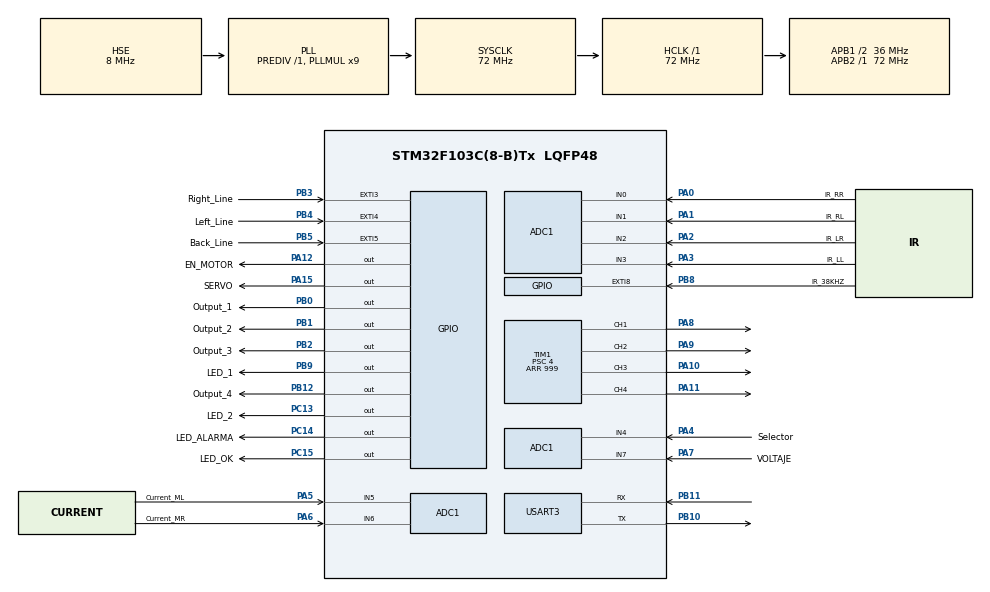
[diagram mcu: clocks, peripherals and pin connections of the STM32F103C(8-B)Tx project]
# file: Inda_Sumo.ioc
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ADC1.Channel-0\#ChannelRegularConversion=ADC_CHANNEL_0
ADC1.Channel-1\#ChannelRegularConversion=ADC_CHANNEL_1
ADC1.Channel-2\#ChannelRegularConversion=ADC_CHANNEL_2
ADC1.Channel-3\#ChannelRegularConversion=ADC_CHANNEL_3
ADC1.Channel-4\#ChannelRegularConversion=ADC_CHANNEL_4
ADC1.Channel-5\#ChannelRegularConversion=ADC_CHANNEL_5
ADC1.Channel-6\#ChannelRegularConversion=ADC_CHANNEL_6
ADC1.Channel-7\#ChannelRegularConversion=ADC_CHANNEL_7
ADC1.ContinuousConvMode=ENABLE
ADC1.NbrOfConversion=8
ADC1.NbrOfConversionFlag=1
ADC1.Rank-0\#ChannelRegularConversion=1
ADC1.Rank-1\#ChannelRegularConversion=2
ADC1.Rank-2\#ChannelRegularConversion=3
ADC1.Rank-3\#ChannelRegularConversion=4
ADC1.Rank-4\#ChannelRegularConversion=5
ADC1.Rank-5\#ChannelRegularConversion=6
ADC1.Rank-6\#ChannelRegularConversion=7
ADC1.Rank-7\#ChannelRegularConversion=8
ADC1.SamplingTime-0\#ChannelRegularConversion=ADC_SAMPLETIME_28CYCLES_5
ADC1.SamplingTime-1\#ChannelRegularConversion=ADC_SAMPLETIME_28CYCLES_5
ADC1.SamplingTime-2\#ChannelRegularConversion=ADC_SAMPLETIME_28CYCLES_5
ADC1.SamplingTime-3\#ChannelRegularConversion=ADC_SAMPLETIME_28CYCLES_5
ADC1.SamplingTime-4\#ChannelRegularConversion=ADC_SAMPLETIME_28CYCLES_5
ADC1.SamplingTime-5\#ChannelRegularConversion=ADC_SAMPLETIME_28CYCLES_5
ADC1.SamplingTime-6\#ChannelRegularConversion=ADC_SAMPLETIME_28CYCLES_5
ADC1.SamplingTime-7\#ChannelRegularConversion=ADC_SAMPLETIME_28CYCLES_5
ADC1.master=1
Dma.ADC1.0.Direction=DMA_PERIPH_TO_MEMORY
Dma.ADC1.0.Instance=DMA1_Channel1
Dma.ADC1.0.MemDataAlignment=DMA_MDATAALIGN_HALFWORD
Dma.ADC1.0.MemInc=DMA_MINC_ENABLE
Dma.ADC1.0.Mode=DMA_CIRCULAR
Dma.ADC1.0.PeriphDataAlignment=DMA_PDATAALIGN_HALFWORD
Dma.ADC1.0.PeriphInc=DMA_PINC_DISABLE
Dma.ADC1.0.Priority=DMA_PRIORITY_LOW
Dma.Request0=ADC1
Mcu.Family=STM32F1
Mcu.Name=STM32F103C(8-B)Tx
Mcu.Package=LQFP48
NVIC.DMA1_Channel1_IRQn=true\:2\:0\:true\:false\:true\:false\:true\:true
NVIC.EXTI3_IRQn=true\:3\:0\:true\:false\:true\:true\:true\:true
NVIC.EXTI4_IRQn=true\:3\:0\:true\:false\:true\:true\:true\:true
NVIC.EXTI9_5_IRQn=true\:1\:0\:true\:false\:true\:true\:true\:true
NVIC.PriorityGroup=NVIC_PRIORITYGROUP_4
NVIC.TIM2_IRQn=true\:0\:0\:true\:false\:true\:true\:true\:true
PA0-WKUP.GPIO_Label=IR_RR
PA0-WKUP.Signal=ADCx_IN0
PA1.GPIO_Label=IR_RL
PA1.Signal=ADCx_IN1
PA10.Signal=S_TIM1_CH3
PA11.Signal=S_TIM1_CH4
PA12.GPIO_Label=EN_MOTOR
PA12.Signal=GPIO_Output
PA13.Mode=Serial_Wire
PA13.Signal=SYS_JTMS-SWDIO
PA14.Mode=Serial_Wire
PA14.Signal=SYS_JTCK-SWCLK
PA15.GPIO_Label=SERVO
PA15.Signal=GPIO_Output
PA2.GPIO_Label=IR_LR
PA2.Signal=ADCx_IN2
PA3.GPIO_Label=IR_LL
PA3.Signal=ADCx_IN3
PA4.GPIO_Label=Selector
PA4.Signal=ADCx_IN4
PA5.GPIO_Label=Current_ML
PA5.Signal=ADCx_IN5
PA6.GPIO_Label=Current_MR
PA6.Signal=ADCx_IN6
PA7.GPIO_Label=VOLTAJE
PA7.Signal=ADCx_IN7
PA8.Signal=S_TIM1_CH1
PA9.Signal=S_TIM1_CH2
PB0.GPIO_Label=Output_1
PB0.Signal=GPIO_Output
PB1.GPIO_Label=Output_2
PB1.Signal=GPIO_Output
PB10.Mode=Asynchronous
PB10.Signal=USART3_TX
PB11.Mode=Asynchronous
PB11.Signal=USART3_RX
PB12.GPIO_Label=Output_4
PB12.Signal=GPIO_Output
PB2.GPIO_Label=Output_3
PB2.Signal=GPIO_Output
PB3.GPIO_Label=Right_Line
PB3.GPIO_ModeDefaultEXTI=GPIO_MODE_IT_FALLING
PB3.Signal=GPXTI3
PB4.GPIO_Label=Left_Line
PB4.GPIO_ModeDefaultEXTI=GPIO_MODE_IT_RISING_FALLING
PB4.Signal=GPXTI4
PB5.GPIO_Label=Back_Line
PB5.GPIO_ModeDefaultEXTI=GPIO_MODE_IT_FALLING
PB5.Signal=GPXTI5
PB8.GPIO_Label=IR_38KHZ
PB8.GPIO_ModeDefaultEXTI=GPIO_MODE_IT_FALLING
PB8.GPIO_PuPd=GPIO_PULLUP
PB8.Signal=GPXTI8
PB9.GPIO_Label=LED_1
PB9.Signal=GPIO_Output
PC13-TAMPER-RTC.GPIO_Label=LED_2
PC13-TAMPER-RTC.Signal=GPIO_Output
PC14-OSC32_IN.GPIO_Label=LED_ALARMA
PC14-OSC32_IN.Signal=GPIO_Output
PC15-OSC32_OUT.GPIO_Label=LED_OK
PC15-OSC32_OUT.Signal=GPIO_Output
PD0-OSC_IN.Mode=HSE-External-Oscillator
PD0-OSC_IN.Signal=RCC_OSC_IN
PD1-OSC_OUT.Mode=HSE-External-Oscillator
PD1-OSC_OUT.Signal=RCC_OSC_OUT
ProjectManager.HeapSize=0x200
ProjectManager.StackSize=0x400
ProjectManager.TargetToolchain=STM32CubeIDE
RCC.ADCPresc=RCC_ADCPCLK2_DIV6
RCC.AHBFreq_Value=72000000
RCC.APB1CLKDivider=RCC_HCLK_DIV2
RCC.APB1Freq_Value=36000000
RCC.APB1TimFreq_Value=72000000
RCC.APB2Freq_Value=72000000
RCC.APB2TimFreq_Value=72000000
RCC.HCLKFreq_Value=72000000
RCC.PLLMUL=RCC_PLL_MUL9
RCC.PLLSourceVirtual=RCC_PLLSOURCE_HSE
RCC.SYSCLKFreq_VALUE=72000000
RCC.SYSCLKSource=RCC_SYSCLKSOURCE_PLLCLK
RCC.USBFreq_Value=72000000
SH.ADCx_IN0.0=ADC1_IN0,IN0
SH.ADCx_IN1.0=ADC1_IN1,IN1
SH.ADCx_IN2.0=ADC1_IN2,IN2
SH.ADCx_IN3.0=ADC1_IN3,IN3
SH.ADCx_IN4.0=ADC1_IN4,IN4
SH.ADCx_IN5.0=ADC1_IN5,IN5
SH.ADCx_IN6.0=ADC1_IN6,IN6
SH.ADCx_IN7.0=ADC1_IN7,IN7
SH.S_TIM1_CH1.0=TIM1_CH1,PWM Generation1 CH1
SH.S_TIM1_CH2.0=TIM1_CH2,PWM Generation2 CH2
SH.S_TIM1_CH3.0=TIM1_CH3,PWM Generation3 CH3
SH.S_TIM1_CH4.0=TIM1_CH4,PWM Generation4 CH4
TIM1.Channel-PWM\ Generation1\ CH1=TIM_CHANNEL_1
TIM1.Channel-PWM\ Generation2\ CH2=TIM_CHANNEL_2
TIM1.Channel-PWM\ Generation3\ CH3=TIM_CHANNEL_3
TIM1.Channel-PWM\ Generation4\ CH4=TIM_CHANNEL_4
TIM1.Period=999
TIM1.Prescaler=4
TIM2.AutoReloadPreload=TIM_AUTORELOAD_PRELOAD_DISABLE
TIM2.Period=65535
TIM2.Prescaler=71
USART3.VirtualMode=VM_ASYNC
VP_TIM2_VS_ClockSourceINT.Mode=Internal
board=custom

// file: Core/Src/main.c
/* USER CODE BEGIN Header */
/**
  ******************************************************************************
  * @file           : main.c
  * @brief          : Main program body
  ******************************************************************************
  * @attention
  *
  * Copyright (c) 2026 STMicroelectronics.
  * All rights reserved.
  *
  * This software is licensed under terms that can be found in the LICENSE file
  * in the root directory of this software component.
  * If no LICENSE file comes with this software, it is provided AS-IS.
  *
  ******************************************************************************
  */
/* USER CODE END Header */
#include "main.h"
#include "adc.h"
#include "dma.h"
#include "tim.h"
#include "usart.h"
#include "gpio.h"

/* USER CODE BEGIN Includes */
#include "stdio.h"
#include "string.h"
#include "stdbool.h"
#include "LIB_Motores.h"
/* USER CODE END Includes */

/* USER CODE BEGIN PTD */

typedef enum
{
	estrategiaA,
	estrategiaB,
	start,
	stop
}MandoRC5s;

typedef struct{
	uint16_t start;
	uint16_t toggle;
	uint16_t address;
	uint16_t command;
	volatile uint16_t trama;
	volatile uint8_t count;
	volatile bool 	state;
	volatile bool   IntQ;
	volatile uint16_t IR;
}RC5s;
/* USER CODE END PTD */

/* USER CODE BEGIN PD */
#define convVolt 0.000825396  //3.38/4095
#define divisorRes  0.259259		//r1=100k r2 35k

#define LL_sharp sharp[3]
#define LR_sharp sharp[2]
#define RL_sharp sharp[1]
#define RR_sharp sharp[0]
#define distanciaMaxima  33.0  // o 16000
#define distanciaMinima  15.0  // o 16000

/* USER CODE END PD */

/* USER CODE BEGIN PV */
RC5s	rc5={0};
MandoRC5s MandoRC5=stop;
Motores_Init Zumo;

uint16_t adc_value[8];

uint8_t standby=0;
bool combate=false;

float voltaje=0;
float corrienteML=0;
float corrienteMR=0;
float sharp[4]={30.0f,30.0f,30.0f,30.0f};
float media[4][5]={};
float posicion_final=5.0f;

bool pulsoConstante=false;
int8_t seleccionEstrategia=0;

bool leftLine=false;
bool rightLine=false;

char buffer[30];
/* USER CODE END PV */

void SystemClock_Config(void);
/* USER CODE BEGIN PFP */
void printADC();
void printADC_IR();
void printADC_Volt_Amp();;
void printRC5();
void RC5_recepcion();
void conversionADC();
void filtroSharp();

/* USER CODE END PFP */

int main(void)
{

  /* MCU Configuration--------------------------------------------------------*/

  /* Reset of all peripherals, Initializes the Flash interface and the Systick. */
  HAL_Init();

  /* Configure the system clock */
  SystemClock_Config();

  /* Initialize all configured peripherals */
  MX_GPIO_Init();
  MX_DMA_Init();
  MX_USART3_UART_Init();
  MX_ADC1_Init();
  MX_TIM1_Init();
  MX_TIM2_Init();
  /* USER CODE BEGIN 2 */

HAL_ADC_Start_DMA(&hadc1, (uint32_t *)adc_value, 8);

Zumo.PWM_ML=0;
Zumo.PWM_MR=0;
Zumo.ENABLE=0;
Inicializar_Motores(&Zumo);

LED_OK_GPIO_Port->ODR|=  LED_OK_Pin;
HAL_Delay(1000);
LED_OK_GPIO_Port->ODR&= ~LED_OK_Pin;

__HAL_TIM_SET_AUTORELOAD(&htim2, 1332);
__HAL_TIM_SET_COUNTER(&htim2, 0);
HAL_TIM_GenerateEvent(&htim2, TIM_EVENTSOURCE_UPDATE);
__HAL_TIM_CLEAR_FLAG(&htim2, TIM_FLAG_UPDATE);

__HAL_GPIO_EXTI_CLEAR_IT(GPIO_PIN_8);
  /* USER CODE END 2 */

  /* Infinite loop */
  /* USER CODE BEGIN WHILE */
  while (1)
  {
	  RC5_recepcion();	//Aca se reciben datos y se obtiene address y command

	  if(MandoRC5==start)
	  {
		  LED_OK_GPIO_Port->ODR|=LED_OK_Pin;
		  conversionADC();
			sprintf(buffer,"pos %0.2f ",posicion_final);
			HAL_UART_Transmit(&huart3, (uint8_t *)buffer, strlen(buffer), HAL_MAX_DELAY);

		 printADC_IR();
	  }
	  else if (MandoRC5==stop) {
		  LED_OK_GPIO_Port->ODR&=~LED_OK_Pin;
	  }
    /* USER CODE END WHILE */

  }
}

void SystemClock_Config(void)
{
  RCC_OscInitTypeDef RCC_OscInitStruct = {0};
  RCC_ClkInitTypeDef RCC_ClkInitStruct = {0};
  RCC_PeriphCLKInitTypeDef PeriphClkInit = {0};

  /** Initializes the RCC Oscillators according to the specified parameters
  * in the RCC_OscInitTypeDef structure.
  */
  RCC_OscInitStruct.OscillatorType = RCC_OSCILLATORTYPE_HSE;
  RCC_OscInitStruct.HSEState = RCC_HSE_ON;
  RCC_OscInitStruct.HSEPredivValue = RCC_HSE_PREDIV_DIV1;
  RCC_OscInitStruct.HSIState = RCC_HSI_ON;
  RCC_OscInitStruct.PLL.PLLState = RCC_PLL_ON;
  RCC_OscInitStruct.PLL.PLLSource = RCC_PLLSOURCE_HSE;
  RCC_OscInitStruct.PLL.PLLMUL = RCC_PLL_MUL9;
  if (HAL_RCC_OscConfig(&RCC_OscInitStruct) != HAL_OK)
  {
    Error_Handler();
  }

  /** Initializes the CPU, AHB and APB buses clocks
  */
  RCC_ClkInitStruct.ClockType = RCC_CLOCKTYPE_HCLK|RCC_CLOCKTYPE_SYSCLK
                              |RCC_CLOCKTYPE_PCLK1|RCC_CLOCKTYPE_PCLK2;
  RCC_ClkInitStruct.SYSCLKSource = RCC_SYSCLKSOURCE_PLLCLK;
  RCC_ClkInitStruct.AHBCLKDivider = RCC_SYSCLK_DIV1;
  RCC_ClkInitStruct.APB1CLKDivider = RCC_HCLK_DIV2;
  RCC_ClkInitStruct.APB2CLKDivider = RCC_HCLK_DIV1;

  if (HAL_RCC_ClockConfig(&RCC_ClkInitStruct, FLASH_LATENCY_2) != HAL_OK)
  {
    Error_Handler();
  }
  PeriphClkInit.PeriphClockSelection = RCC_PERIPHCLK_ADC;
  PeriphClkInit.AdcClockSelection = RCC_ADCPCLK2_DIV6;
  if (HAL_RCCEx_PeriphCLKConfig(&PeriphClkInit) != HAL_OK)
  {
    Error_Handler();
  }
}

/* USER CODE BEGIN 4 */

void HAL_TIM_PeriodElapsedCallback(TIM_HandleTypeDef *htim) {
    if (htim->Instance == TIM2) {
    	static bool Frecuencia=true;
    	if(Frecuencia)
    	{
    		__HAL_TIM_SET_AUTORELOAD(&htim2,1777);
    		Frecuencia=false;
    	}
    	uint8_t RC5_bit=(HAL_GPIO_ReadPin(IR_38KHZ_GPIO_Port, IR_38KHZ_Pin)==GPIO_PIN_SET)?1:0;
    	rc5.trama=(rc5.trama<<1)|RC5_bit;
    	    	if(rc5.count++>11)
    	    	{
    	    		HAL_TIM_Base_Stop_IT(&htim2);
    	    		rc5.count=0;
    	    		rc5.state=true;
    	    		rc5.IntQ=false;
    	    		Frecuencia=true;
    	            __HAL_TIM_SET_AUTORELOAD(&htim2, 1332);
    	            __HAL_TIM_SET_COUNTER(&htim2, 0);
    	    	}

    }
}
void HAL_GPIO_EXTI_Callback(uint16_t GPIO_Pin)
{
    if(GPIO_Pin == IR_38KHZ_Pin)
    {
        // 1. Bloqueamos el EXTI para que los cambios de bit no reinicien el Timer
		if(!rc5.IntQ){
    		HAL_NVIC_DisableIRQ(EXTI9_5_IRQn);
            HAL_NVIC_DisableIRQ(EXTI4_IRQn);
            HAL_NVIC_DisableIRQ(EXTI3_IRQn);

            rc5.trama = 1;
            rc5.count = 0;
            rc5.IntQ=true;
            rc5.state=false;

            // 2. Sincronización: Esperamos 1333us para leer el primer bit en su zona estable
            //__HAL_TIM_SET_AUTORELOAD(&htim2, 1332);
            //__HAL_TIM_SET_COUNTER(&htim2, 0);
            HAL_TIM_Base_Start_IT(&htim2);
		}

    }
    else if (GPIO_Pin == Left_Line_Pin) {
    	}
    else if (GPIO_Pin == Right_Line_Pin) {
    }
    else if (GPIO_Pin == Back_Line_Pin) {
    }

}
/*
 * Codigo importante para la recepcion
 * se recibe 2 bit mas para evitar una segunda pulsacion rapida
 *
 */
void RC5_recepcion()
{
	static uint16_t new=0u;
	if(rc5.state)
	{
		rc5.start=(rc5.trama>>12)&0x03;
		if(rc5.start==3){
			rc5.toggle=(rc5.trama>>11)&0x01;
			rc5.address=(rc5.trama>>6)&0x1F;
			rc5.command=(rc5.trama>>0)&0x3F;
			if(rc5.address==0x1F)
			{
				new=rc5.command&0x1F;
			}
			printRC5();
		}
		rc5.trama=0;
		rc5.state=false;
		if(rc5.address==new)
		{
			switch (rc5.command) {
			case 0x0F:
				MandoRC5=stop;

				break;
			case 0x01:
				MandoRC5=start;
				break;

			default:
				break;
			}
		}
		__HAL_GPIO_EXTI_CLEAR_IT(GPIO_PIN_8);
		HAL_NVIC_EnableIRQ(EXTI9_5_IRQn);
		HAL_NVIC_EnableIRQ(EXTI4_IRQn);
		HAL_NVIC_EnableIRQ(EXTI3_IRQn);

	}

}

void conversionADC()
{
	voltaje=adc_value[7]*convVolt;
	voltaje=voltaje/divisorRes;

	// corriente I=(V-1.65)/0.66
/*
	corrienteML=adc_value[5]*convVolt;
	corrienteML=corrienteML-1.65;
	corrienteML=corrienteML/0.66;

	corrienteMR=adc_value[6]*convVolt;
	corrienteMR=corrienteMR-1.65;
	corrienteMR=corrienteMR/0.66;*/
	// Valores IR en cm  d=65.302-27.77*V

	    static uint8_t a=0;

		media[3][a]=adc_value[3]*convVolt;
		media[2][a]=adc_value[2]*convVolt;
		media[1][a]=adc_value[1]*convVolt;
		media[0][a]=adc_value[0]*convVolt;

		media[3][a]=65.302-media[3][a]*27.77;
		media[2][a]=65.302-media[2][a]*27.77;
		media[1][a]=65.302-media[1][a]*27.77;
		media[0][a]=65.302-media[0][a]*27.77;
		static float ultimo[4]={60.0f,60.0f,60.0f,60.0f};
		static float lineal[4]={};
		if (++a>=4) {
			a=0;
			float temp;
			float fila_temporal[5];
			uint8_t size_ = 5;
			for (int canal = 0; canal < 4; canal++) {
				for (int k = 0; k < size_; k++) {
					fila_temporal[k] = media[canal][k];
				}
				for (int i = 0; i < size_ - 1; i++) {
					for (int j = 0; j < size_ - i - 1; j++) {
						if (fila_temporal[j] > fila_temporal[j + 1]) {
							temp = fila_temporal[j];
							fila_temporal[j] = fila_temporal[j + 1];
							fila_temporal[j + 1] = temp;
						}
					}
				}
				sharp[canal] = fila_temporal[2];
				// En esta parte buscamos mazimo y minimo
				for(uint8_t c=0;c<4;c++){
					if(sharp[c]>60.0f)
					{
						sharp[c]=60.0f;
					}
					else if(sharp[c]<3.0f)
					{
						sharp[c]=3.0f;
					}
					else{
						sharp[c]=sharp[c];
					}
				//Aca vemos que si realiza un cambio abrupto se queda en el ultimo valor
					const float umbral[4]={5.0f,6.0f,6.0f,5.0f};
					if(ultimo[c]<umbral[c])
					{
						if(sharp[c]==60.0f)
						{
							sharp[c]=ultimo[c];
						}
					}
					ultimo[c]=sharp[c];
					//linealizamos salida
				    lineal[c]=(60.0f - sharp[c]) / 58.0f;
				}
			}
			float suma_ponderada = (lineal[0] * 0.0f) + (lineal[1] * 1.0f) + (lineal[2] * 2.0f) + (lineal[3] * 3.0f);
			float suma_total_lecturas = lineal[0]+lineal[1]+lineal[2]+lineal[3];
			if (suma_total_lecturas > 0.02f) {
				float centro_bruto = suma_ponderada / suma_total_lecturas;
				posicion_final = (centro_bruto / 3.0f) * 10.0f;
			} else {
			  posicion_final = 5.0f;
			}
			if (posicion_final < 0.0f)  posicion_final = 0.0f;
			if (posicion_final > 10.0f) posicion_final = 10.0f;

		}

	//validar pulso adc 4
	if(!combate)
	{
		if (adc_value[4]>3600) {
			if(!pulsoConstante)
			{
				pulsoConstante=true;
			}

		}
		else if(adc_value[4]>2900)
		{
			if(!pulsoConstante)
			{
				seleccionEstrategia++;
				if(seleccionEstrategia>3)
				{
					seleccionEstrategia=0;
				}
				pulsoConstante=true;
			}
		}
		else if (adc_value[4]>1400) {
			if(!pulsoConstante)
			{
				seleccionEstrategia--;
				if(seleccionEstrategia<0)
				{
					seleccionEstrategia=3;
				}
				pulsoConstante=true;
			}
		}

		else{
			pulsoConstante=false;
		}
	}
	HAL_GPIO_WritePin(LED_1_GPIO_Port, LED_1_Pin, ((seleccionEstrategia)>>1)&1);
	HAL_GPIO_WritePin(LED_2_GPIO_Port, LED_2_Pin, (seleccionEstrategia)&1);

}

void printRC5()
{
		sprintf(buffer," start %u ",rc5.start);
		HAL_UART_Transmit(&huart3, (uint8_t *)buffer, strlen(buffer), HAL_MAX_DELAY);
		sprintf(buffer," toogle %u ",rc5.toggle);
		HAL_UART_Transmit(&huart3, (uint8_t *)buffer, strlen(buffer), HAL_MAX_DELAY);
		sprintf(buffer," address %u ",rc5.address);
		HAL_UART_Transmit(&huart3, (uint8_t *)buffer, strlen(buffer), HAL_MAX_DELAY);

		sprintf(buffer," command %u ",rc5.command);
		HAL_UART_Transmit(&huart3, (uint8_t *)buffer, strlen(buffer), HAL_MAX_DELAY);

		sprintf(buffer," \r\n ");
	HAL_UART_Transmit(&huart3, (uint8_t *)buffer, strlen(buffer), HAL_MAX_DELAY);

}
void printADC_IR()
{
	sprintf(buffer,"LL= %0.2f",sharp[3]);
		HAL_UART_Transmit(&huart3, (uint8_t *)buffer, strlen(buffer), HAL_MAX_DELAY);

		sprintf(buffer,"  LR=  %0.2f",sharp[2]);
		HAL_UART_Transmit(&huart3, (uint8_t *)buffer, strlen(buffer), HAL_MAX_DELAY);

		sprintf(buffer,"  RL= %0.2f",sharp[1]);
		HAL_UART_Transmit(&huart3, (uint8_t *)buffer, strlen(buffer), HAL_MAX_DELAY);

		sprintf(buffer," RR= %0.2f",sharp[0]);
		HAL_UART_Transmit(&huart3, (uint8_t *)buffer, strlen(buffer), HAL_MAX_DELAY);

		sprintf(buffer,"\r\n");
		HAL_UART_Transmit(&huart3, (uint8_t *)buffer, strlen(buffer), HAL_MAX_DELAY);
		HAL_Delay(10);
}
void printADC_Volt_Amp()
{

	sprintf(buffer," A_ML= %0.5f ",corrienteML);
	HAL_UART_Transmit(&huart3, (uint8_t *)buffer, strlen(buffer), HAL_MAX_DELAY);

	sprintf(buffer," A_MR= %0.5f ",corrienteMR);
	HAL_UART_Transmit(&huart3, (uint8_t *)buffer, strlen(buffer), HAL_MAX_DELAY);

	sprintf(buffer," voltage= %0.2f ",voltaje);
	HAL_UART_Transmit(&huart3, (uint8_t *)buffer, strlen(buffer), HAL_MAX_DELAY);

	sprintf(buffer,"\r\n");
	HAL_UART_Transmit(&huart3, (uint8_t *)buffer, strlen(buffer), HAL_MAX_DELAY);
	HAL_Delay(500);

}
void printADC()
{

	sprintf(buffer," Boton= %u ",adc_value[4]);
	HAL_UART_Transmit(&huart3, (uint8_t *)buffer, strlen(buffer), HAL_MAX_DELAY);

	sprintf(buffer," A_ML= %u ",adc_value[5]);
	HAL_UART_Transmit(&huart3, (uint8_t *)buffer, strlen(buffer), HAL_MAX_DELAY);

	sprintf(buffer," A_MR= %u ",adc_value[6]);
	HAL_UART_Transmit(&huart3, (uint8_t *)buffer, strlen(buffer), HAL_MAX_DELAY);

	sprintf(buffer," voltage= %u ",adc_value[7]);
	HAL_UART_Transmit(&huart3, (uint8_t *)buffer, strlen(buffer), HAL_MAX_DELAY);

	sprintf(buffer,"LL= %u",adc_value[3]);
	HAL_UART_Transmit(&huart3, (uint8_t *)buffer, strlen(buffer), HAL_MAX_DELAY);

	sprintf(buffer,"  LR=  %u",adc_value[2]);
	HAL_UART_Transmit(&huart3, (uint8_t *)buffer, strlen(buffer), HAL_MAX_DELAY);

	sprintf(buffer,"  RL= %u",adc_value[1]);
	HAL_UART_Transmit(&huart3, (uint8_t *)buffer, strlen(buffer), HAL_MAX_DELAY);

	sprintf(buffer," RR= %u",adc_value[0]);
	HAL_UART_Transmit(&huart3, (uint8_t *)buffer, strlen(buffer), HAL_MAX_DELAY);

	sprintf(buffer,"\r\n");
	HAL_UART_Transmit(&huart3, (uint8_t *)buffer, strlen(buffer), HAL_MAX_DELAY);
	HAL_Delay(500);
}

/* USER CODE END 4 */

void Error_Handler(void)
{
  __disable_irq();
  while (1)
  {
  }
}
